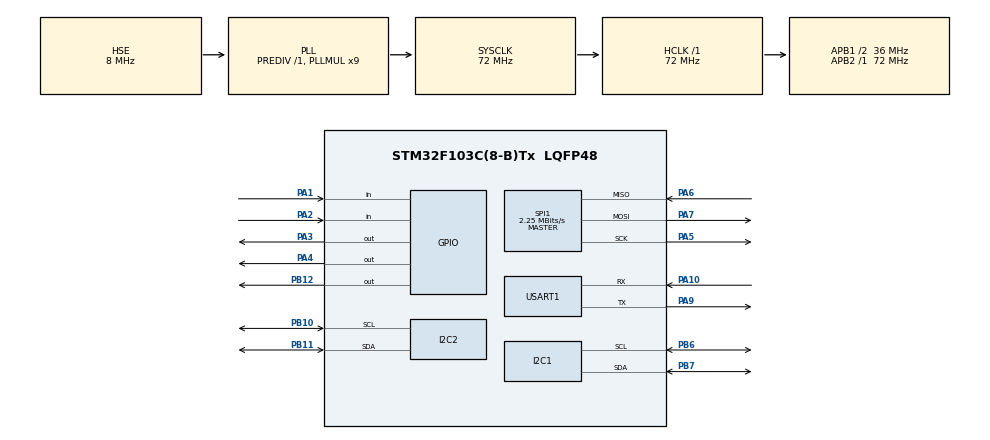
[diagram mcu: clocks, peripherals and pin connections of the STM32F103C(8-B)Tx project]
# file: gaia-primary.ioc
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I2C1.GeneralCallMode=I2C_GENERALCALL_ENABLE
I2C1.OwnAddress=0x60
Mcu.Family=STM32F1
Mcu.Name=STM32F103C(8-B)Tx
Mcu.Package=LQFP48
NVIC.I2C1_ER_IRQn=true\:0\:0\:false\:false\:true\:true\:true\:true
NVIC.I2C1_EV_IRQn=true\:0\:0\:false\:false\:true\:true\:true\:true
NVIC.I2C2_ER_IRQn=true\:0\:0\:false\:false\:true\:true\:true\:true
NVIC.I2C2_EV_IRQn=true\:0\:0\:false\:false\:true\:true\:true\:true
NVIC.PriorityGroup=NVIC_PRIORITYGROUP_4
PA1.Signal=GPIO_Input
PA10.Mode=Asynchronous
PA10.Signal=USART1_RX
PA13.Mode=Serial_Wire
PA13.Signal=SYS_JTMS-SWDIO
PA14.Mode=Serial_Wire
PA14.Signal=SYS_JTCK-SWCLK
PA2.Signal=GPIO_Input
PA3.GPIO_Speed=GPIO_SPEED_FREQ_HIGH
PA3.PinState=GPIO_PIN_SET
PA3.Signal=GPIO_Output
PA4.GPIO_Speed=GPIO_SPEED_FREQ_HIGH
PA4.PinState=GPIO_PIN_SET
PA4.Signal=GPIO_Output
PA5.Mode=Full_Duplex_Master
PA5.Signal=SPI1_SCK
PA6.Mode=Full_Duplex_Master
PA6.Signal=SPI1_MISO
PA7.Mode=Full_Duplex_Master
PA7.Signal=SPI1_MOSI
PA9.Mode=Asynchronous
PA9.Signal=USART1_TX
PB10.Mode=I2C
PB10.Signal=I2C2_SCL
PB11.Mode=I2C
PB11.Signal=I2C2_SDA
PB12.Signal=GPIO_Output
PB6.Mode=I2C
PB6.Signal=I2C1_SCL
PB7.Mode=I2C
PB7.Signal=I2C1_SDA
PD0-OSC_IN.Mode=HSE-External-Oscillator
PD0-OSC_IN.Signal=RCC_OSC_IN
PD1-OSC_OUT.Mode=HSE-External-Oscillator
PD1-OSC_OUT.Signal=RCC_OSC_OUT
ProjectManager.HeapSize=0x200
ProjectManager.StackSize=0x400
ProjectManager.TargetToolchain=STM32CubeIDE
RCC.AHBFreq_Value=72000000
RCC.APB1CLKDivider=RCC_HCLK_DIV2
RCC.APB1Freq_Value=36000000
RCC.APB1TimFreq_Value=72000000
RCC.APB2Freq_Value=72000000
RCC.APB2TimFreq_Value=72000000
RCC.HCLKFreq_Value=72000000
RCC.PLLMUL=RCC_PLL_MUL9
RCC.PLLSourceVirtual=RCC_PLLSOURCE_HSE
RCC.SYSCLKFreq_VALUE=72000000
RCC.SYSCLKSource=RCC_SYSCLKSOURCE_PLLCLK
RCC.USBFreq_Value=72000000
SPI1.BaudRatePrescaler=SPI_BAUDRATEPRESCALER_32
SPI1.CLKPhase=SPI_PHASE_2EDGE
SPI1.CLKPolarity=SPI_POLARITY_HIGH
SPI1.CalculateBaudRate=2.25 MBits/s
SPI1.Direction=SPI_DIRECTION_2LINES
SPI1.Mode=SPI_MODE_MASTER
SPI1.VirtualType=VM_MASTER
USART1.VirtualMode=VM_ASYNC
board=custom

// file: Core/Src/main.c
/* USER CODE BEGIN Header */
/**
  ******************************************************************************
  * @file           : main.c
  * @brief          : Main program body
  ******************************************************************************
  * @attention
  *
  * Copyright (c) 2025 STMicroelectronics.
  * All rights reserved.
  *
  * This software is licensed under terms that can be found in the LICENSE file
  * in the root directory of this software component.
  * If no LICENSE file comes with this software, it is provided AS-IS.
  *
  ******************************************************************************
  */
/* USER CODE END Header */
#include "main.h"

/* USER CODE BEGIN Includes */
#include <stdio.h>
#include "max31865.h"
/* USER CODE END Includes */

I2C_HandleTypeDef hi2c1;
I2C_HandleTypeDef hi2c2;

SPI_HandleTypeDef hspi1;

UART_HandleTypeDef huart1;

/* USER CODE BEGIN PV */
extern struct I2Cdatas I2CdatasI2C1;
/* USER CODE END PV */

void SystemClock_Config(void);
static void MX_GPIO_Init(void);
static void MX_I2C1_Init(void);
static void MX_I2C2_Init(void);
static void MX_USART1_UART_Init(void);
static void MX_SPI1_Init(void);

/* USER CODE BEGIN 0 */

#define UARTmessages 1 // if 1 it will send read datas on UART if 0 it won't

// start of user implemented MAX31865 functions

void MAX31865delay(uint32_t us)
{

}

void MAX31865setCS_1(uint8_t state)
{
	if(state == 1)
	{
		HAL_GPIO_WritePin(GPIOA, GPIO_PIN_3, GPIO_PIN_SET);
	}
	else
	{
		HAL_GPIO_WritePin(GPIOA, GPIO_PIN_3, GPIO_PIN_RESET);
	}
}

void MAX31865setCS_2(uint8_t state)
{
	if(state == 1)
	{
		HAL_GPIO_WritePin(GPIOA, GPIO_PIN_4, GPIO_PIN_SET);
	}
	else
	{
		HAL_GPIO_WritePin(GPIOA, GPIO_PIN_4, GPIO_PIN_RESET);
	}
}

uint8_t MAX31865drdy_1()
{
	if(HAL_GPIO_ReadPin(GPIOA, GPIO_PIN_1))
	{
		return 1;
	}
	else
	{
		return 0;
	}
}

uint8_t MAX31865drdy_2()
{
	if(HAL_GPIO_ReadPin(GPIOA, GPIO_PIN_2))
	{
		return 1;
	}
	else
	{
		return 0;
	}
}

uint8_t MAX31865spiWrite(uint8_t reg, uint8_t numberOfBytes, uint8_t* dataBuffer)
{
	// sending address byte
	if(HAL_SPI_Transmit(&hspi1, &reg, 1, 100) != HAL_OK)
	{
		return 0; // if error return 0
	}

	// sending actual data
	if(HAL_SPI_Transmit(&hspi1, dataBuffer, numberOfBytes, 100) != HAL_OK)
	{
		return 0;
	}

	return 1;
}

uint8_t MAX31865spiRead(uint8_t reg, uint8_t numberOfBytes, uint8_t* dataBuffer)
{
	// sending address byte
	if(HAL_SPI_Transmit(&hspi1, &reg, 1, 100) != HAL_OK)
	{
		return 0; // if error return 0
	}

	// receiving actual data
	if(HAL_SPI_Receive(&hspi1, dataBuffer, numberOfBytes, 100) != HAL_OK)
	{
		return 0;
	}

	return 1;
}

void MAX31865errorcallback(uint8_t sensorId, uint8_t faultstatus)
{
	if((faultstatus & rtdHighThresholdError) > 0)
	{
		// High temperature error
	}

	if((faultstatus & rtdLowThresholdError) > 0)
	{
		// Low temperature error
	}

	if((faultstatus & refin1Error) > 0)
	{
		// if refin- is bigger than 0.85 * Vbias
	}

	if((faultstatus & refin2Error) > 0)
	{
		// if refin- is smaller than 0.85 * Vbias with force- open
	}

	if((faultstatus & rtdinError) > 0)
	{
		// if rtdin- is smaller than 0.85 * Vbias with force- open
	}

	if((faultstatus & overOrUnderVoltageError) > 0)
	{
		// Overvoltage or undervoltage error
	}
}

// end of MAX31865 user implemented functions

/* USER CODE END 0 */

int main(void)
{

  /* MCU Configuration--------------------------------------------------------*/

  /* Reset of all peripherals, Initializes the Flash interface and the Systick. */
  HAL_Init();

  /* Configure the system clock */
  SystemClock_Config();

  /* Initialize all configured peripherals */
  MX_GPIO_Init();
  MX_I2C1_Init();
  MX_I2C2_Init();
  MX_USART1_UART_Init();
  MX_SPI1_Init();
  /* USER CODE BEGIN 2 */

  char UARTbuffer[100];
  int snprintfWritten;

  MAX31865 max31865_sensor1;
  uint8_t max31865_sensor1_initRetVal = MAX31865init(1, &max31865_sensor1, &MAX31865delay, &MAX31865setCS_1, &MAX31865spiWrite, &MAX31865spiRead, &MAX31865drdy_1, &MAX31865errorcallback, 4000, 10, 1000, 1, 0, 1, 0, 0xFFFF);
  uint16_t max31865_sensor1_databuffer;

  MAX31865 max31865_sensor2;
  uint8_t max31865_sensor2_initRetVal = MAX31865init(2, &max31865_sensor2, &MAX31865delay, &MAX31865setCS_2, &MAX31865spiWrite, &MAX31865spiRead, &MAX31865drdy_2, &MAX31865errorcallback, 4000, 10, 1000, 1, 0, 1, 0, 0xFFFF);
  uint16_t max31865_sensor2_databuffer;

  // printing init result of the two RTD on UART
  snprintfWritten = snprintf(UARTbuffer, 100, "MAX31865 initialisations:\nsensor1: %u\nsensor2: %u\n", max31865_sensor1_initRetVal, max31865_sensor2_initRetVal);
  HAL_UART_Transmit(&huart1, (uint8_t*)UARTbuffer, snprintfWritten, 100);

  /* USER CODE END 2 */

  /* Infinite loop */
  /* USER CODE BEGIN WHILE */
  while (1)
  {
	  // reading the two MAX31865 sensor
	  if(max31865_sensor1.DRDY() == 0)
	  {
		  if(MAX31865readData(&max31865_sensor1, &max31865_sensor1_databuffer) != 1)
		  {
			  // error reading from MAX31865 id1
			  if(UARTmessages == 1)
			  {
				  snprintfWritten = snprintf(UARTbuffer, 100, "Error reading from MAX31865_1\n");
				  HAL_UART_Transmit(&huart1, (uint8_t*)UARTbuffer, snprintfWritten, 100);
			  }
		  }
		  else
		  {
			  // printing out the results
			  if(UARTmessages == 1)
			  {
				  snprintfWritten = snprintf(UARTbuffer, 100, "Data read from MAX31865_1: %u\n", max31865_sensor1_databuffer);
				  HAL_UART_Transmit(&huart1, (uint8_t*)UARTbuffer, snprintfWritten, 100);
			  }
		  }
	  }

	  if(max31865_sensor2.DRDY() == 0)
	  {
		  if(MAX31865readData(&max31865_sensor2, &max31865_sensor2_databuffer) != 1)
		  {
			  // error reading from MAX31865 id2
			  if(UARTmessages == 1)
			  {
				  snprintfWritten = snprintf(UARTbuffer, 100, "Error reading from MAX31865_2\n");
				  HAL_UART_Transmit(&huart1, (uint8_t*)UARTbuffer, snprintfWritten, 100);
			  }
		  }
		  else
		  {
			  // printing out the results
			  if(UARTmessages == 1)
			  {
				  snprintfWritten = snprintf(UARTbuffer, 100, "Data read from MAX31865_2: %u\n", max31865_sensor2_databuffer);
				  HAL_UART_Transmit(&huart1, (uint8_t*)UARTbuffer, snprintfWritten, 100);
			  }
		  }
	  }

	  HAL_Delay(1000);

    /* USER CODE END WHILE */

  }
}

void SystemClock_Config(void)
{
  RCC_OscInitTypeDef RCC_OscInitStruct = {0};
  RCC_ClkInitTypeDef RCC_ClkInitStruct = {0};

  /** Initializes the RCC Oscillators according to the specified parameters
  * in the RCC_OscInitTypeDef structure.
  */
  RCC_OscInitStruct.OscillatorType = RCC_OSCILLATORTYPE_HSE;
  RCC_OscInitStruct.HSEState = RCC_HSE_ON;
  RCC_OscInitStruct.HSEPredivValue = RCC_HSE_PREDIV_DIV1;
  RCC_OscInitStruct.HSIState = RCC_HSI_ON;
  RCC_OscInitStruct.PLL.PLLState = RCC_PLL_ON;
  RCC_OscInitStruct.PLL.PLLSource = RCC_PLLSOURCE_HSE;
  RCC_OscInitStruct.PLL.PLLMUL = RCC_PLL_MUL9;
  if (HAL_RCC_OscConfig(&RCC_OscInitStruct) != HAL_OK)
  {
    Error_Handler();
  }

  /** Initializes the CPU, AHB and APB buses clocks
  */
  RCC_ClkInitStruct.ClockType = RCC_CLOCKTYPE_HCLK|RCC_CLOCKTYPE_SYSCLK
                              |RCC_CLOCKTYPE_PCLK1|RCC_CLOCKTYPE_PCLK2;
  RCC_ClkInitStruct.SYSCLKSource = RCC_SYSCLKSOURCE_PLLCLK;
  RCC_ClkInitStruct.AHBCLKDivider = RCC_SYSCLK_DIV1;
  RCC_ClkInitStruct.APB1CLKDivider = RCC_HCLK_DIV2;
  RCC_ClkInitStruct.APB2CLKDivider = RCC_HCLK_DIV1;

  if (HAL_RCC_ClockConfig(&RCC_ClkInitStruct, FLASH_LATENCY_2) != HAL_OK)
  {
    Error_Handler();
  }
}

static void MX_I2C1_Init(void)
{

  hi2c1.Instance = I2C1;
  hi2c1.Init.ClockSpeed = 100000;
  hi2c1.Init.DutyCycle = I2C_DUTYCYCLE_2;
  hi2c1.Init.OwnAddress1 = 192;
  hi2c1.Init.AddressingMode = I2C_ADDRESSINGMODE_7BIT;
  hi2c1.Init.DualAddressMode = I2C_DUALADDRESS_DISABLE;
  hi2c1.Init.OwnAddress2 = 0;
  hi2c1.Init.GeneralCallMode = I2C_GENERALCALL_ENABLE;
  hi2c1.Init.NoStretchMode = I2C_NOSTRETCH_DISABLE;
  if (HAL_I2C_Init(&hi2c1) != HAL_OK)
  {
    Error_Handler();
  }

}

static void MX_I2C2_Init(void)
{

  hi2c2.Instance = I2C2;
  hi2c2.Init.ClockSpeed = 100000;
  hi2c2.Init.DutyCycle = I2C_DUTYCYCLE_2;
  hi2c2.Init.OwnAddress1 = 0;
  hi2c2.Init.AddressingMode = I2C_ADDRESSINGMODE_7BIT;
  hi2c2.Init.DualAddressMode = I2C_DUALADDRESS_DISABLE;
  hi2c2.Init.OwnAddress2 = 0;
  hi2c2.Init.GeneralCallMode = I2C_GENERALCALL_DISABLE;
  hi2c2.Init.NoStretchMode = I2C_NOSTRETCH_DISABLE;
  if (HAL_I2C_Init(&hi2c2) != HAL_OK)
  {
    Error_Handler();
  }

}

static void MX_SPI1_Init(void)
{

  /* SPI1 parameter configuration*/
  hspi1.Instance = SPI1;
  hspi1.Init.Mode = SPI_MODE_MASTER;
  hspi1.Init.Direction = SPI_DIRECTION_2LINES;
  hspi1.Init.DataSize = SPI_DATASIZE_8BIT;
  hspi1.Init.CLKPolarity = SPI_POLARITY_HIGH;
  hspi1.Init.CLKPhase = SPI_PHASE_2EDGE;
  hspi1.Init.NSS = SPI_NSS_SOFT;
  hspi1.Init.BaudRatePrescaler = SPI_BAUDRATEPRESCALER_32;
  hspi1.Init.FirstBit = SPI_FIRSTBIT_MSB;
  hspi1.Init.TIMode = SPI_TIMODE_DISABLE;
  hspi1.Init.CRCCalculation = SPI_CRCCALCULATION_DISABLE;
  hspi1.Init.CRCPolynomial = 10;
  if (HAL_SPI_Init(&hspi1) != HAL_OK)
  {
    Error_Handler();
  }

}

static void MX_USART1_UART_Init(void)
{

  huart1.Instance = USART1;
  huart1.Init.BaudRate = 115200;
  huart1.Init.WordLength = UART_WORDLENGTH_8B;
  huart1.Init.StopBits = UART_STOPBITS_1;
  huart1.Init.Parity = UART_PARITY_NONE;
  huart1.Init.Mode = UART_MODE_TX_RX;
  huart1.Init.HwFlowCtl = UART_HWCONTROL_NONE;
  huart1.Init.OverSampling = UART_OVERSAMPLING_16;
  if (HAL_UART_Init(&huart1) != HAL_OK)
  {
    Error_Handler();
  }

}

static void MX_GPIO_Init(void)
{
  GPIO_InitTypeDef GPIO_InitStruct = {0};

  /* GPIO Ports Clock Enable */
  __HAL_RCC_GPIOD_CLK_ENABLE();
  __HAL_RCC_GPIOA_CLK_ENABLE();
  __HAL_RCC_GPIOB_CLK_ENABLE();

  /*Configure GPIO pin Output Level */
  HAL_GPIO_WritePin(GPIOA, GPIO_PIN_3|GPIO_PIN_4, GPIO_PIN_SET);

  /*Configure GPIO pin Output Level */
  HAL_GPIO_WritePin(GPIOB, GPIO_PIN_12, GPIO_PIN_RESET);

  /*Configure GPIO pins : PA1 PA2 */
  GPIO_InitStruct.Pin = GPIO_PIN_1|GPIO_PIN_2;
  GPIO_InitStruct.Mode = GPIO_MODE_INPUT;
  GPIO_InitStruct.Pull = GPIO_NOPULL;
  HAL_GPIO_Init(GPIOA, &GPIO_InitStruct);

  /*Configure GPIO pins : PA3 PA4 */
  GPIO_InitStruct.Pin = GPIO_PIN_3|GPIO_PIN_4;
  GPIO_InitStruct.Mode = GPIO_MODE_OUTPUT_PP;
  GPIO_InitStruct.Pull = GPIO_NOPULL;
  GPIO_InitStruct.Speed = GPIO_SPEED_FREQ_HIGH;
  HAL_GPIO_Init(GPIOA, &GPIO_InitStruct);

  /*Configure GPIO pin : PB12 */
  GPIO_InitStruct.Pin = GPIO_PIN_12;
  GPIO_InitStruct.Mode = GPIO_MODE_OUTPUT_PP;
  GPIO_InitStruct.Pull = GPIO_NOPULL;
  GPIO_InitStruct.Speed = GPIO_SPEED_FREQ_LOW;
  HAL_GPIO_Init(GPIOB, &GPIO_InitStruct);

}

void Error_Handler(void)
{
  __disable_irq();
  while (1)
  {
  }
}
